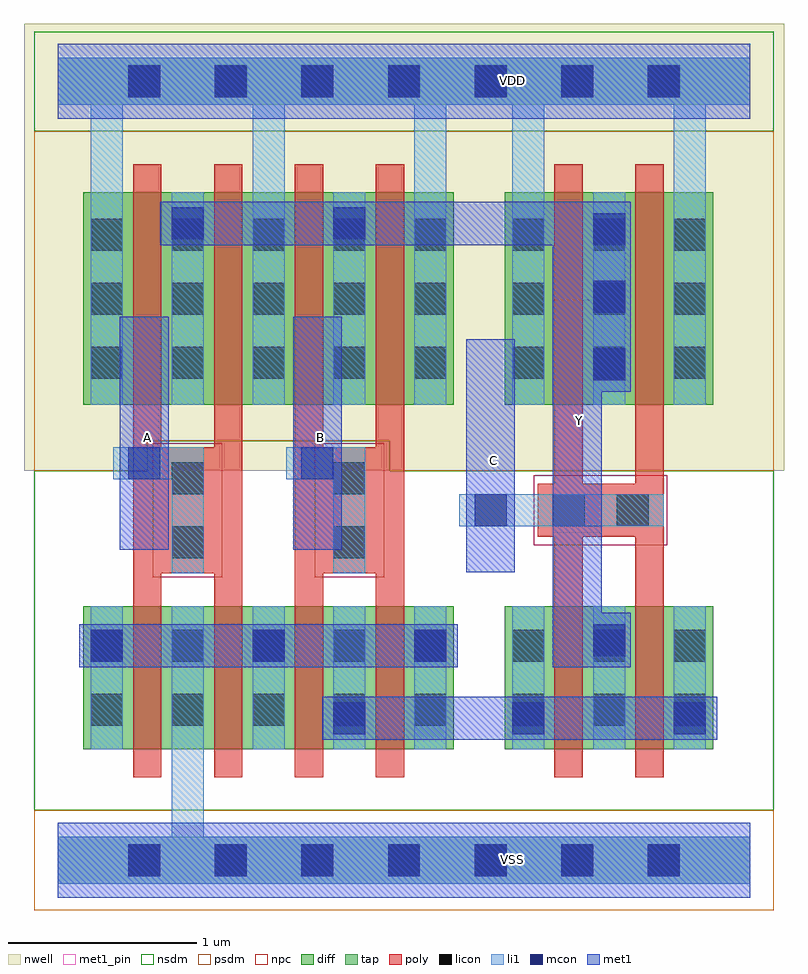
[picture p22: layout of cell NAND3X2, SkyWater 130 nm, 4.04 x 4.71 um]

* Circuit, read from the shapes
.subckt NAND3X2 A B C VDD VSS Y
XM1 VSS A n1 VSS sky130_fd_pr__nfet_01v8 w=0.76 l=0.15 m=2
XM2 n2 B n1 VSS sky130_fd_pr__nfet_01v8 w=0.76 l=0.15 m=2
XM3 Y C n2 VSS sky130_fd_pr__nfet_01v8 w=0.76 l=0.15 m=2
XM4 Y A VDD VDD sky130_fd_pr__pfet_01v8 w=1.13 l=0.15 m=2
XM5 Y B VDD VDD sky130_fd_pr__pfet_01v8 w=1.13 l=0.15 m=2
XM6 Y C VDD VDD sky130_fd_pr__pfet_01v8 w=1.13 l=0.15 m=2
.ends

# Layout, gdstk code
from math import pi, radians
import gdstk
lib = gdstk.Library(unit=1e-6, precision=1e-09)
def R(c, l, rs):  # rectangles x0, y0, x1, y1
    for r in rs: c.add(gdstk.rectangle(r[:2], r[2:], *l))
def A(c, l, x, y, w, h, nx, ny, dx, dy):  # array of equal rectangles
    R(c, l, [(x+i*dx, y+j*dy, x+i*dx+w, y+j*dy+h) for i in range(nx) for j in range(ny)])
def P(c, l, *ps):  # polygons
    for p in ps: c.add(gdstk.Polygon(p, *l))
nwell = (64, 20)
diff = (65, 20)
tap = (65, 44)
poly = (66, 20)
licon = (66, 44)
li1 = (67, 20)
mcon = (67, 44)
met1_pin = (68, 16)
met1 = (68, 20)
nsdm = (93, 44)
psdm = (94, 20)
npc = (95, 20)

l1m1_c_cdns_750710154090 = lib.new_cell('L1M1_C_CDNS_750710154090')
R(l1m1_c_cdns_750710154090, li1, [(-0.165,-0.085,0.165,0.085)])
R(l1m1_c_cdns_750710154090, mcon, [(-0.085,-0.085,0.085,0.085)])
R(l1m1_c_cdns_750710154090, met1, [(-0.115,-0.145,0.115,0.145)])

pyl1con_c_cdns_750710154 = lib.new_cell('PYL1CON_C_CDNS_750710154092')
R(pyl1con_c_cdns_750710154, poly, [(-0.135,-0.165,0.135,0.165)])
R(pyl1con_c_cdns_750710154, licon, [(-0.085,-0.085,0.085,0.085)])
R(pyl1con_c_cdns_750710154, npc, [(-0.185,-0.185,0.185,0.185)])

l1m1_c_cdns_750710154095 = lib.new_cell('L1M1_C_CDNS_750710154095')
R(l1m1_c_cdns_750710154095, li1, [(-0.165,-0.085,0.165,0.085)])
R(l1m1_c_cdns_750710154095, mcon, [(-0.085,-0.085,0.085,0.085)])
R(l1m1_c_cdns_750710154095, met1, [(-0.145,-0.115,0.145,0.115)])

l1m1_c_cdns_750710154092 = lib.new_cell('L1M1_C_CDNS_7507101540923')
R(l1m1_c_cdns_750710154092, li1, [(-0.525,-0.085,0.525,0.085)])
A(l1m1_c_cdns_750710154092, mcon, -0.445, -0.085, 0.17, 0.17, 3, 1, 0.36, 0)
R(l1m1_c_cdns_750710154092, met1, [(-0.505,-0.115,0.505,0.115)])

nand3x2 = lib.new_cell('NAND3X2')
R(nand3x2, nwell, [(-0.18,2.07,3.86,4.305), (-0.045,2.24,1.385,3.73), (1.025,2.24,2.285,3.73), (2.195,2.24,3.665,3.73), (-0.18,3.875,3.86,4.445)])
A(nand3x2, diff, 0.4, 0.59, 0.15, 0.76, 4, 1, 0.43, 0)
A(nand3x2, diff, 0.4, 2.42, 0.15, 1.13, 4, 1, 0.43, 0)
R(nand3x2, diff, [(0.135,0.59,0.4,1.35), (0.55,0.59,0.83,1.35), (0.98,0.59,1.205,1.35), (1.205,0.59,1.26,1.35), (1.41,0.59,1.69,1.35), (1.84,0.59,2.105,1.35), (2.375,0.59,2.64,1.35), (2.64,0.59,2.79,1.35), (2.79,0.59,3.07,1.35), (3.07,0.59,3.22,1.35), (3.22,0.59,3.485,1.35), (0.135,2.42,0.4,3.55), (0.55,2.42,0.83,3.55), (0.98,2.42,1.205,3.55), (1.205,2.42,1.26,3.55), (1.41,2.42,1.69,3.55), (1.84,2.42,2.105,3.55), (2.375,2.42,2.64,3.55), (2.64,2.42,2.79,3.55), (2.79,2.42,3.07,3.55), (3.07,2.42,3.22,3.55), (3.22,2.42,3.485,3.55)])
A(nand3x2, poly, 0.4, 0.44, 0.15, 0.055, 4, 2, 0.43, 1.005)
A(nand3x2, poly, 0.4, 0.495, 0.15, 0.095, 4, 2, 0.43, 0.855)
A(nand3x2, poly, 0.4, 0.59, 0.15, 0.76, 4, 1, 0.43, 0)
A(nand3x2, poly, 0.4, 2.27, 0.15, 0.055, 4, 2, 0.43, 1.375)
A(nand3x2, poly, 0.4, 2.325, 0.15, 0.095, 4, 2, 0.43, 1.225)
A(nand3x2, poly, 0.4, 2.42, 0.15, 1.13, 4, 1, 0.43, 0)
R(nand3x2, poly, [(2.64,0.44,2.79,0.495), (3.07,0.44,3.22,0.495), (2.64,0.495,2.79,0.59), (3.07,0.495,3.22,0.59), (2.64,0.59,2.79,1.35), (3.07,0.59,3.22,1.35), (2.64,1.35,2.79,1.445), (3.07,1.35,3.22,1.445), (2.64,1.445,2.79,1.5), (3.07,1.445,3.22,1.5), (0.55,1.525,0.83,2.045), (0.555,1.525,0.825,2.195), (1.41,1.525,1.69,2.045), (1.415,1.525,1.685,2.195), (0.55,1.695,0.83,2.025), (1.41,1.695,1.69,2.025), (2.55,1.72,2.7,2), (2.7,1.72,3.22,2), (2.55,1.725,3.22,1.995), (0.55,2.045,0.83,2.195), (1.41,2.045,1.69,2.195), (2.64,2.27,2.79,2.325), (3.07,2.27,3.22,2.325), (2.64,2.325,2.79,2.42), (3.07,2.325,3.22,2.42), (2.64,2.42,2.79,3.55), (3.07,2.42,3.22,3.55), (2.64,3.55,2.79,3.645), (3.07,3.55,3.22,3.645), (2.64,3.645,2.79,3.7), (3.07,3.645,3.22,3.7)])
A(nand3x2, licon, 0.375, -0.085, 0.17, 0.17, 7, 2, 0.46, 4.14)
A(nand3x2, licon, 0.175, 0.715, 0.17, 0.17, 5, 2, 0.43, 0.34)
A(nand3x2, licon, 2.415, 0.715, 0.17, 0.17, 3, 2, 0.43, 0.34)
A(nand3x2, licon, 0.175, 2.56, 0.17, 0.17, 5, 3, 0.43, 0.34)
A(nand3x2, licon, 2.415, 2.56, 0.17, 0.17, 3, 3, 0.43, 0.34)
A(nand3x2, li1, 0.175, 0.59, 0.17, 0.76, 5, 1, 0.43, 0)
A(nand3x2, li1, 2.415, 0.59, 0.17, 0.76, 3, 1, 0.43, 0)
A(nand3x2, li1, 0.175, 2.42, 0.17, 1.13, 5, 1, 0.43, 0)
A(nand3x2, li1, 2.415, 2.42, 0.17, 1.13, 3, 1, 0.43, 0)
A(nand3x2, mcon, 0.375, -0.085, 0.17, 0.17, 7, 2, 0.46, 4.14)
R(nand3x2, met1_pin, [(2.17,1.53,2.43,2.77), (0.33,1.65,0.59,2.89), (1.25,1.65,1.51,2.89), (2.63,1.74,2.89,2.98)])
R(nand3x2, nsdm, [(-0.005,0.46,1.215,1.48), (1.195,0.46,2.245,1.48), (2.235,0.46,3.625,1.48), (-0.125,3.875,3.805,4.405), (-0.125,3.93,3.805,4.35)])
P(nand3x2, nsdm, [(3.805,2.07),(1.765,2.07),(1.765,2.23),(0.475,2.23),(0.475,2.07),(-0.125,2.07),(-0.125,0.265),(3.805,0.265)])
R(nand3x2, psdm, [(-0.125,-0.265,3.805,0.265), (-0.125,-0.21,3.805,0.21), (-0.005,2.29,1.215,3.68), (1.195,2.29,2.245,3.68), (2.235,2.29,3.625,3.68)])
P(nand3x2, psdm, [(3.805,3.875),(-0.125,3.875),(-0.125,2.07),(0.475,2.07),(0.475,2.23),(1.765,2.23),(1.765,2.07),(3.805,2.07)])
nand3x2.add(gdstk.FlexPath([(3.145,2.27),(3.145,1.5)], 0.15, ends="flush", simple_path=True, layer=66, datatype=20))  # poly
nand3x2.add(gdstk.FlexPath([(1.335,1.885),(1.765,1.885)], 0.15, ends="flush", simple_path=True, layer=66, datatype=20))  # poly
nand3x2.add(gdstk.FlexPath([(0.475,1.885),(0.905,1.885)], 0.15, ends="flush", simple_path=True, layer=66, datatype=20))  # poly
nand3x2.add(gdstk.FlexPath([(1.765,2.27),(1.765,1.5)], 0.15, ends="flush", simple_path=True, layer=66, datatype=20))  # poly
nand3x2.add(gdstk.FlexPath([(2.715,2.27),(2.715,1.5)], 0.15, ends="flush", simple_path=True, layer=66, datatype=20))  # poly
nand3x2.add(gdstk.FlexPath([(0.905,1.5),(0.905,2.27)], 0.15, ends="flush", simple_path=True, layer=66, datatype=20))  # poly
nand3x2.add(gdstk.FlexPath([(0.475,2.27),(0.475,1.5)], 0.15, ends="flush", simple_path=True, layer=66, datatype=20))  # poly
nand3x2.add(gdstk.FlexPath([(1.335,2.27),(1.335,1.5)], 0.15, ends="flush", simple_path=True, layer=66, datatype=20))  # poly
nand3x2.add(gdstk.FlexPath([(2.47,0),(3.42,0)], 0.25, ends=(0.085, 0.085), simple_path=True, layer=67, datatype=20))  # li1
nand3x2.add(gdstk.FlexPath([(3.42,0),(3.595,0)], 0.25, ends=(0.085, 0.085), simple_path=True, layer=67, datatype=20))  # li1
nand3x2.add(gdstk.FlexPath([(0.69,0),(2.47,0)], 0.25, ends=(0.085, 0.085), simple_path=True, layer=67, datatype=20))  # li1
nand3x2.add(gdstk.FlexPath([(2.55,1.86),(3.22,1.86)], 0.17, ends="flush", simple_path=True, layer=67, datatype=20))  # li1
nand3x2.add(gdstk.FlexPath([(1.55,2.195),(1.55,1.525)], 0.17, ends="flush", simple_path=True, layer=67, datatype=20))  # li1
nand3x2.add(gdstk.FlexPath([(2.3,1.86),(2.64,1.86)], 0.17, ends=(0, 0.085), simple_path=True, layer=67, datatype=20))  # li1
nand3x2.add(gdstk.FlexPath([(2.5,3.55),(2.5,4.135)], 0.17, ends="flush", simple_path=True, layer=67, datatype=20))  # li1
nand3x2.add(gdstk.FlexPath([(2.64,1.86),(2.64,1.865)], 0.17, ends=(0.085, 0), simple_path=True, layer=67, datatype=20))  # li1
nand3x2.add(gdstk.FlexPath([(0.69,2.195),(0.69,1.525)], 0.17, ends="flush", simple_path=True, layer=67, datatype=20))  # li1
nand3x2.add(gdstk.FlexPath([(3.595,4.14),(3.68,4.14)], 0.25, ends=(0.085, 0), simple_path=True, layer=67, datatype=20))  # li1
nand3x2.add(gdstk.FlexPath([(0.69,4.14),(2.47,4.14)], 0.25, ends=(0.085, 0.085), simple_path=True, layer=67, datatype=20))  # li1
nand3x2.add(gdstk.FlexPath([(3.42,4.14),(3.595,4.14)], 0.25, ends=(0.085, 0.085), simple_path=True, layer=67, datatype=20))  # li1
nand3x2.add(gdstk.FlexPath([(1.98,3.55),(1.98,4.14)], 0.17, ends=(0, 0.085), simple_path=True, layer=67, datatype=20))  # li1
nand3x2.add(gdstk.FlexPath([(0.26,4.14),(0.215,4.14)], 0.17, ends=(0.085, 0), simple_path=True, layer=67, datatype=20))  # li1
nand3x2.add(gdstk.FlexPath([(0,4.14),(0.69,4.14)], 0.25, ends=(0, 0.085), simple_path=True, layer=67, datatype=20))  # li1
nand3x2.add(gdstk.FlexPath([(2.47,4.14),(3.42,4.14)], 0.25, ends=(0.085, 0.085), simple_path=True, layer=67, datatype=20))  # li1
nand3x2.add(gdstk.FlexPath([(0.69,0.59),(0.69,0)], 0.17, ends="flush", simple_path=True, layer=67, datatype=20))  # li1
nand3x2.add(gdstk.FlexPath([(3.36,3.55),(3.36,4.135)], 0.17, ends="flush", simple_path=True, layer=67, datatype=20))  # li1
nand3x2.add(gdstk.FlexPath([(1.12,3.55),(1.12,4.14)], 0.17, ends="flush", simple_path=True, layer=67, datatype=20))  # li1
nand3x2.add(gdstk.FlexPath([(0.26,3.55),(0.26,4.14)], 0.17, ends=(0, 0.085), simple_path=True, layer=67, datatype=20))  # li1
nand3x2.add(gdstk.FlexPath([(0,0),(0.69,0)], 0.25, ends=(0, 0.085), simple_path=True, layer=67, datatype=20))  # li1
nand3x2.add(gdstk.FlexPath([(3.595,0),(3.68,0)], 0.25, ends=(0.085, 0), simple_path=True, layer=67, datatype=20))  # li1
nand3x2.add(gdstk.FlexPath([(0,0),(3.68,0)], 0.4, ends="flush", simple_path=True, layer=68, datatype=20))  # met1
nand3x2.add(gdstk.FlexPath([(2.3,1.53),(2.3,2.77)], 0.26, ends="flush", simple_path=True, layer=68, datatype=20))  # met1
nand3x2.add(gdstk.FlexPath([(2.76,1.025),(2.76,3.5)], 0.26, ends="flush", simple_path=True, layer=68, datatype=20))  # met1
nand3x2.add(gdstk.FlexPath([(1.38,1.65),(1.38,2.89)], 0.26, ends="flush", simple_path=True, layer=68, datatype=20))  # met1
nand3x2.add(gdstk.FlexPath([(0.46,1.65),(0.46,2.89)], 0.26, ends="flush", simple_path=True, layer=68, datatype=20))  # met1
nand3x2.add(gdstk.FlexPath([(0.72,3.385),(2.815,3.385)], 0.23, ends=(0.145, 0), simple_path=True, layer=68, datatype=20))  # met1
nand3x2.add(gdstk.FlexPath([(3.36,0.755),(2.5,0.755)], 0.23, ends="flush", simple_path=True, layer=68, datatype=20))  # met1
nand3x2.add(gdstk.FlexPath([(0.26,1.14),(1.98,1.14)], 0.23, ends="flush", simple_path=True, layer=68, datatype=20))  # met1
nand3x2.add(gdstk.FlexPath([(2.5,0.755),(1.55,0.755)], 0.23, ends="flush", simple_path=True, layer=68, datatype=20))  # met1
nand3x2.add(gdstk.FlexPath([(0,4.14),(3.68,4.14)], 0.4, ends="flush", simple_path=True, layer=68, datatype=20))  # met1
nand3x2.add(gdstk.FlexPath([(0,4.14),(3.68,4.14)], 0.4, ends="flush", simple_path=True, layer=68, datatype=16))  # met1_pin
nand3x2.add(gdstk.FlexPath([(0,0),(3.68,0)], 0.4, ends="flush", simple_path=True, layer=68, datatype=16))  # met1_pin
nand3x2.add(gdstk.FlexPath([(0,4.14),(3.68,4.14)], 0.25, ends="flush", simple_path=True, layer=65, datatype=44))  # tap
nand3x2.add(gdstk.FlexPath([(0,0),(3.68,0)], 0.25, ends="flush", simple_path=True, layer=65, datatype=44))  # tap
nand3x2.add(gdstk.Reference(l1m1_c_cdns_750710154090, (2.3,1.86), x_reflection=True))
nand3x2.add(gdstk.Reference(l1m1_c_cdns_750710154090, (0.46,2.11), x_reflection=True))
nand3x2.add(gdstk.Reference(l1m1_c_cdns_750710154090, (1.38,2.11), x_reflection=True))
nand3x2.add(gdstk.Reference(l1m1_c_cdns_750710154090, (0.69,3.385), rotation=pi/2))
nand3x2.add(gdstk.Reference(l1m1_c_cdns_750710154090, (1.55,3.385), rotation=pi/2))
nand3x2.add(gdstk.Reference(l1m1_c_cdns_750710154090, (0.26,1.14), rotation=pi/2))
nand3x2.add(gdstk.Reference(l1m1_c_cdns_750710154090, (1.12,1.14), rotation=pi/2))
nand3x2.add(gdstk.Reference(l1m1_c_cdns_750710154090, (1.98,1.14), rotation=pi/2))
nand3x2.add(gdstk.Reference(l1m1_c_cdns_750710154090, (3.36,0.755), rotation=pi/2))
nand3x2.add(gdstk.Reference(l1m1_c_cdns_750710154090, (2.5,0.755), rotation=pi/2))
nand3x2.add(gdstk.Reference(l1m1_c_cdns_750710154090, (1.55,0.755), rotation=pi/2))
nand3x2.add(gdstk.Reference(pyl1con_c_cdns_750710154, (0.69,1.69), rotation=pi, x_reflection=True))
nand3x2.add(gdstk.Reference(pyl1con_c_cdns_750710154, (0.69,2.03), rotation=pi, x_reflection=True))
nand3x2.add(gdstk.Reference(pyl1con_c_cdns_750710154, (1.55,1.69), rotation=pi, x_reflection=True))
nand3x2.add(gdstk.Reference(pyl1con_c_cdns_750710154, (1.55,2.03), rotation=pi, x_reflection=True))
nand3x2.add(gdstk.Reference(pyl1con_c_cdns_750710154, (3.055,1.86), rotation=3*pi/2, x_reflection=True))
nand3x2.add(gdstk.Reference(pyl1con_c_cdns_750710154, (2.715,1.86), rotation=3*pi/2, x_reflection=True))
nand3x2.add(gdstk.Reference(l1m1_c_cdns_750710154095, (2.93,1.17), rotation=pi/2))
nand3x2.add(gdstk.Reference(l1m1_c_cdns_750710154092, (2.93,2.995), rotation=pi/2))
nand3x2.add(gdstk.Label('C', (2.315,2.125), layer=68, texttype=5))
nand3x2.add(gdstk.Label('B', (1.395,2.245), layer=68, texttype=5))
nand3x2.add(gdstk.Label('A', (0.475,2.245), layer=68, texttype=5))
nand3x2.add(gdstk.Label('Y', (2.775,2.335), layer=68, texttype=5))
nand3x2.add(gdstk.Label('VDD', (2.415,4.145), layer=68, texttype=5))
nand3x2.add(gdstk.Label('VSS', (2.415,0.005), layer=68, texttype=5))

lib.write_gds('NAND3X2.gds')
